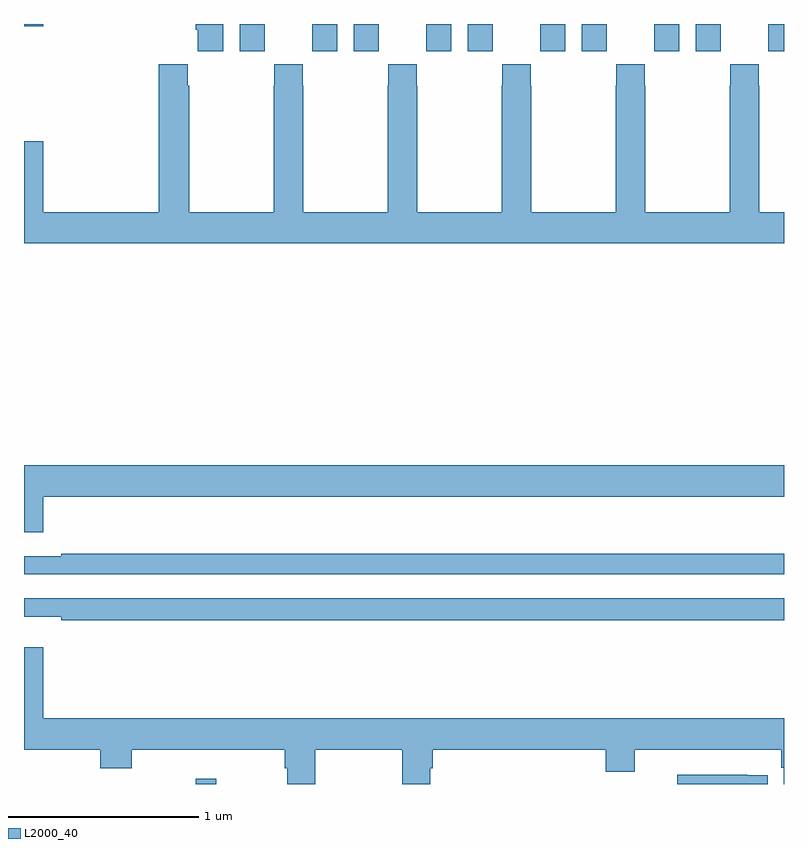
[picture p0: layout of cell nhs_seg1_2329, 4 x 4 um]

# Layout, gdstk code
import gdstk
lib = gdstk.Library(unit=1e-6, precision=1e-09)
def R(c, l, rs):  # rectangles x0, y0, x1, y1
    for r in rs: c.add(gdstk.rectangle(r[:2], r[2:], *l))
def P(c, l, *ps):  # polygons
    for p in ps: c.add(gdstk.Polygon(p, *l))
L2000_40 = (2000, 40)

nhs_seg1_2329 = lib.new_cell('nhs_seg1_2329')
R(nhs_seg1_2329, L2000_40, [(237.903,570.199,238.012,570.226), (237,574.188,237.1,574.199)])
P(nhs_seg1_2329, L2000_40, [(238.866,574.168),(238.867,574.168),(238.867,574.199),(238.736,574.199),(238.736,574.056),(238.866,574.056)],
  [(238.648,574.199),(238.517,574.199),(238.517,574.168),(238.518,574.168),(238.518,574.056),(238.648,574.056)],
  [(238.048,574.199),(237.905,574.199),(237.905,574.168),(237.914,574.168),(237.914,574.056),(238.048,574.056)],
  [(238.266,574.168),(238.267,574.168),(238.267,574.199),(238.136,574.199),(238.136,574.056),(238.266,574.056)],
  [(241,574.199),(240.917,574.199),(240.917,574.168),(240.918,574.168),(240.918,574.056),(241,574.056)],
  [(240.666,574.168),(240.667,574.168),(240.667,574.199),(240.536,574.199),(240.536,574.056),(240.666,574.056)],
  [(240.448,574.199),(240.317,574.199),(240.317,574.168),(240.318,574.168),(240.318,574.056),(240.448,574.056)],
  [(240.066,574.168),(240.067,574.168),(240.067,574.199),(239.936,574.199),(239.936,574.056),(240.066,574.056)],
  [(239.848,574.199),(239.717,574.199),(239.717,574.168),(239.718,574.168),(239.718,574.056),(239.848,574.056)],
  [(239.466,574.168),(239.467,574.168),(239.467,574.199),(239.336,574.199),(239.336,574.056),(239.466,574.056)],
  [(239.248,574.199),(239.117,574.199),(239.117,574.168),(239.118,574.168),(239.118,574.056),(239.248,574.056)],
  [(238.917,573.988),(238.917,573.875),(238.915,573.875),(238.915,573.208),(238.47,573.208),(238.47,573.875),(238.467,573.875),(238.467,573.988),(238.317,573.988),(238.317,573.875),(238.315,573.875),(238.315,573.208),(237.87,573.208),(237.87,573.875),(237.863,573.875),(237.863,573.988),(237.71,573.988),(237.71,573.208),(237.1,573.208),(237.1,573.583),(237,573.583),(237,573.044),(241,573.044),(241,573.208),(240.87,573.208),(240.87,573.875),(240.867,573.875),(240.867,573.988),(240.717,573.988),(240.717,573.875),(240.715,573.875),(240.715,573.208),(240.27,573.208),(240.27,573.875),(240.267,573.875),(240.267,573.988),(240.117,573.988),(240.117,573.875),(240.115,573.875),(240.115,573.208),(239.67,573.208),(239.67,573.875),(239.667,573.875),(239.667,573.988),(239.517,573.988),(239.517,573.875),(239.515,573.875),(239.515,573.208),(239.07,573.208),(239.07,573.875),(239.067,573.875),(239.067,573.988)],
  [(237.1,571.712),(241,571.712),(241,571.876),(237,571.876),(237,571.524),(237.1,571.524)],
  [(241,571.411),(237.196,571.411),(237.196,571.398),(237,571.398),(237,571.302),(241,571.302)],
  [(241,571.176),(237,571.176),(237,571.079),(237.196,571.079),(237.196,571.06),(241,571.06)],
  [(238.533,570.38),(238.99,570.38),(238.99,570.199),(239.137,570.199),(239.137,570.282),(239.15,570.282),(239.15,570.38),(240.062,570.38),(240.062,570.263),(240.214,570.263),(240.214,570.38),(240.986,570.38),(240.986,570.284),(240.999,570.284),(240.999,570.199),(241,570.199),(241,570.544),(237.1,570.544),(237.1,570.919),(237,570.919),(237,570.38),(237.401,570.38),(237.401,570.281),(237.566,570.281),(237.566,570.38),(238.373,570.38),(238.373,570.282),(238.385,570.282),(238.385,570.199),(238.533,570.199)],
  [(240.914,570.246),(240.806,570.246),(240.806,570.247),(240.438,570.247),(240.438,570.199),(240.914,570.199)])

lib.write_gds('nhs_seg1_2329.gds')
